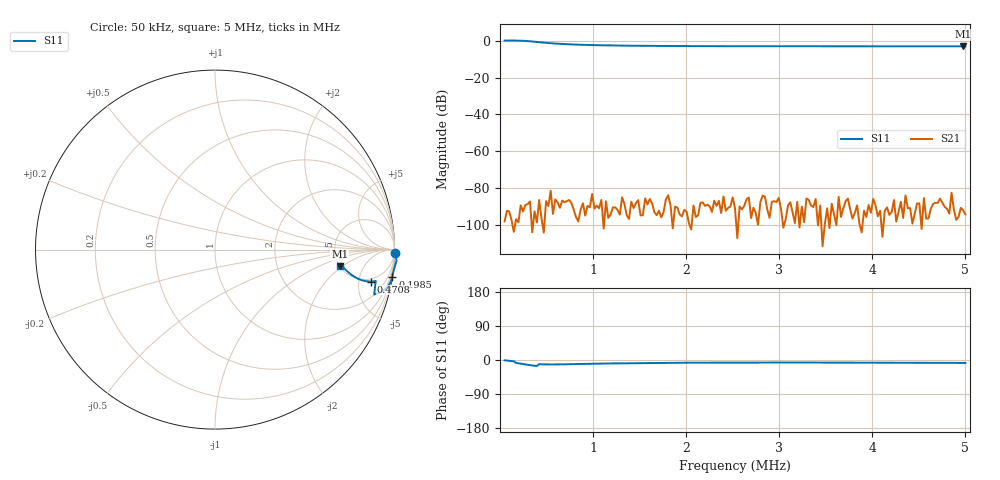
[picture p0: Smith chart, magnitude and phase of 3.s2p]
! NanoVNA-App by OneOfEleven et al v1.1.209 (+OD15)
! Date: 2024-07-30 12:37:10
! Start: 50kHz Stop: 5MHz Points: 201
! S-Parameter data: F S11 S21 S12 S22
# Hz S RI R 50
!  Frequency  S11_Real  S11_Imag  S21_Real  S21_Imag  S12_Real  S12_Imag  S22_Real  S22_Imag
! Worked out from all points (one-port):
!   201 points, 50 kHz to 5 MHz, reference 50 ohm
!   lowest |S11| = -3.1 dB at 4.975 MHz (marker M1), VSWR 5.69, Z = 249 - j91.9 ohm
!   |S11| at or under -10 dB: nowhere
!   S11 on the Smith chart (normalised r, x): 50 kHz: open; 198.5 kHz: 0, -13; 470.8 kHz: 4.37, -7.25; 5 MHz: 4.99, -1.85
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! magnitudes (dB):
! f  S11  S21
! 50 kHz  0.0  -98.1
! 74.75 kHz  0.0  -92.3
! 149 kHz  0.1  -103.8
! 173.8 kHz  0.0  -96.9
! 198.5 kHz  0.0  -98.6
! 248 kHz  -0.1  -92.7
! 297.5 kHz  -0.2  -88.7
! 470.8 kHz  -1.1  -104.1
! 569.8 kHz  -1.5  -94.0
! 668.8 kHz  -1.8  -86.8
! 767.8 kHz  -2.0  -88.1
! 891.5 kHz  -2.3  -88.2
! 1.065 MHz  -2.5  -91.0
! 1.238 MHz  -2.6  -90.5
! 1.56 MHz  -2.8  -85.6
! 1.708 MHz  -2.9  -92.3
! 2.129 MHz  -3.0  -94.8
! 2.525 MHz  -3.0  -91.0
! 3.366 MHz  -3.1  -90.3
! 4.183 MHz  -3.1  -94.6
! 4.975 MHz  -3.1  -92.1
! 5 MHz  -3.1  -94.3
